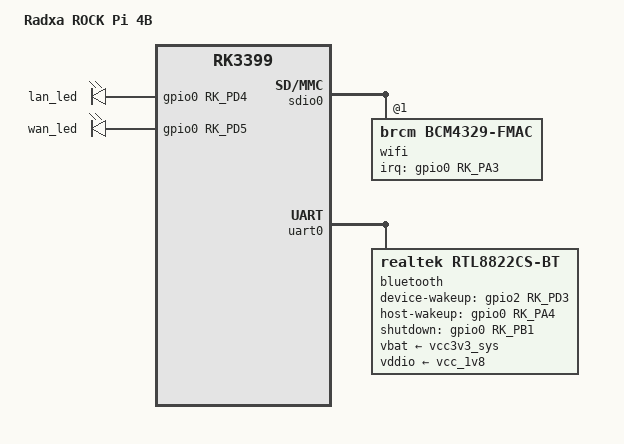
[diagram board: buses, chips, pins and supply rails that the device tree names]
// SPDX-License-Identifier: (GPL-2.0+ OR MIT)
/*
 * Copyright (c) 2019 Akash Gajjar <Akash_Gajjar@mentor.com>
 * Copyright (c) 2019 Pragnesh Patel <Pragnesh_Patel@mentor.com>
 */

/dts-v1/;
#include "rk3399-rock-pi-4.dtsi"

/ {
	model = "Radxa ROCK Pi 4B";
	compatible = "radxa,rockpi4b", "radxa,rockpi4", "rockchip,rk3399";

	aliases {
		mmc2 = &sdio0;
	};

gpio-leds {
	status = "okay";
	compatible = "gpio-leds";
	pinctrl-names = "default";
	pinctrl-0 =<&leds_gpio>;

	led@1 {
		gpios = <&gpio0 RK_PD4 GPIO_ACTIVE_HIGH>;
		label = "lan_led";
		linux,default-trigger = "heartbeat";
		linux,default-trigger-delay-ms = <0>;
	};

	led@2 {
		gpios = <&gpio0 RK_PD5 GPIO_ACTIVE_HIGH>;
		label = "wan_led";
		linux,default-trigger = "heartbeat";
		linux,default-trigger-delay-ms = <0>;
	};
};
};

&pinctrl {
	gpio-leds {
		leds_gpio: leds-gpio {
			rockchip,pins =
				<0 RK_PD4 RK_FUNC_GPIO &pcfg_pull_none>,
				<0 RK_PD5 RK_FUNC_GPIO &pcfg_pull_none>;
		};
	};
};

&sdio0 {
	status = "okay";

	wifi@1 {
		compatible = "brcm,bcm4329-fmac";
		reg = <1>;
		interrupt-parent = <&gpio0>;
		interrupts = <RK_PA3 GPIO_ACTIVE_HIGH>;
		interrupt-names = "host-wake";
		pinctrl-names = "default";
		pinctrl-0 = <&wifi_host_wake_l>;
	};
};

&uart0 {
	status = "okay";

	bluetooth {
		compatible = "realtek,rtl8822cs-bt";
		clocks = <&rk808 1>;
		clock-names = "lpo";
		device-wakeup-gpios = <&gpio2 RK_PD3 GPIO_ACTIVE_HIGH>;
		host-wakeup-gpios = <&gpio0 RK_PA4 GPIO_ACTIVE_HIGH>;
		shutdown-gpios = <&gpio0 RK_PB1 GPIO_ACTIVE_HIGH>;
		max-speed = <1500000>;
		pinctrl-names = "default";
		pinctrl-0 = <&bt_host_wake_l &bt_wake_l &bt_enable_h>;
		vbat-supply = <&vcc3v3_sys>;
		vddio-supply = <&vcc_1v8>;
	};
};
